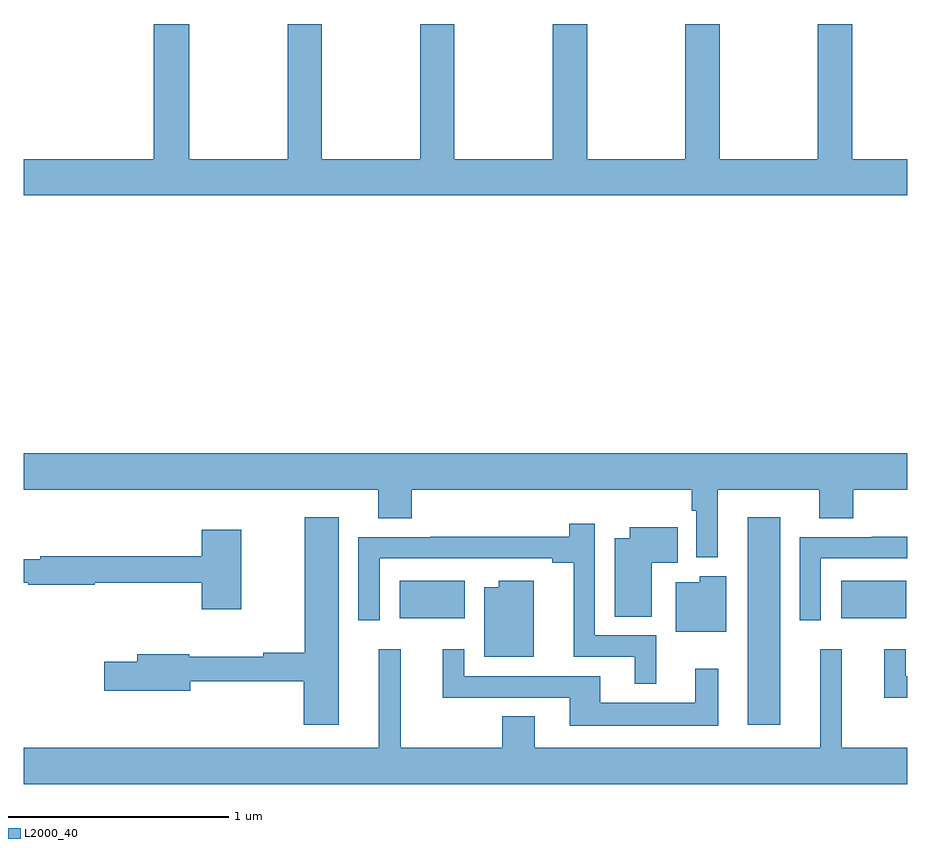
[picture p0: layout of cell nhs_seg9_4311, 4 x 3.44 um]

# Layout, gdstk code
import gdstk
lib = gdstk.Library(unit=1e-6, precision=1e-09)
def R(c, l, rs):  # rectangles x0, y0, x1, y1
    for r in rs: c.add(gdstk.rectangle(r[:2], r[2:], *l))
def P(c, l, *ps):  # polygons
    for p in ps: c.add(gdstk.Polygon(p, *l))
L2000_40 = (2000, 40)

nhs_seg9_4311 = lib.new_cell('nhs_seg9_4311')
R(nhs_seg9_4311, L2000_40, [(360.278,1223.328,360.424,1224.268), (358.703,1223.81,358.996,1223.98), (360.701,1223.81,360.994,1223.98)])
P(nhs_seg9_4311, L2000_40, [(359.995,1225.888),(359.55,1225.888),(359.55,1226.5),(359.395,1226.5),(359.395,1225.888),(358.95,1225.888),(358.95,1226.5),(358.795,1226.5),(358.795,1225.888),(358.35,1225.888),(358.35,1226.5),(358.195,1226.5),(358.195,1225.888),(357.75,1225.888),(357.75,1226.5),(357.59,1226.5),(357.59,1225.888),(357,1225.888),(357,1225.724),(361,1225.724),(361,1225.888),(360.75,1225.888),(360.75,1226.5),(360.595,1226.5),(360.595,1225.888),(360.15,1225.888),(360.15,1226.5),(359.995,1226.5)],
  [(360.142,1224.392),(360.602,1224.392),(360.602,1224.262),(360.755,1224.262),(360.755,1224.392),(361,1224.392),(361,1224.556),(357,1224.556),(357,1224.392),(358.604,1224.392),(358.604,1224.262),(358.757,1224.262),(358.757,1224.392),(360.025,1224.392),(360.025,1224.296),(360.045,1224.296),(360.045,1224.086),(360.142,1224.086)],
  [(358.426,1224.268),(358.273,1224.268),(358.273,1223.654),(358.084,1223.654),(358.084,1223.636),(357.75,1223.636),(357.75,1223.647),(357.515,1223.647),(357.515,1223.613),(357.366,1223.613),(357.366,1223.483),(357.754,1223.483),(357.754,1223.526),(358.268,1223.526),(358.268,1223.328),(358.426,1223.328)],
  [(359.863,1223.733),(359.586,1223.733),(359.586,1224.238),(359.47,1224.238),(359.47,1224.179),(358.84,1224.179),(358.84,1224.177),(358.515,1224.177),(358.515,1223.802),(358.611,1223.802),(358.611,1224.081),(359.393,1224.081),(359.393,1224.061),(359.489,1224.061),(359.489,1223.637),(359.765,1223.637),(359.765,1223.513),(359.863,1223.513)],
  [(359.842,1224.062),(359.96,1224.062),(359.96,1224.223),(359.744,1224.223),(359.744,1224.172),(359.675,1224.172),(359.675,1223.818),(359.842,1223.818)],
  [(357.984,1224.211),(357.806,1224.211),(357.806,1224.091),(357.076,1224.091),(357.076,1224.078),(357,1224.078),(357,1223.97),(357.022,1223.97),(357.022,1223.962),(357.322,1223.962),(357.322,1223.97),(357.806,1223.97),(357.806,1223.85),(357.984,1223.85)],
  [(360.609,1224.081),(361,1224.081),(361,1224.179),(360.838,1224.179),(360.838,1224.177),(360.513,1224.177),(360.513,1223.802),(360.609,1223.802)],
  [(360.181,1224.001),(360.06,1224.001),(360.06,1223.974),(359.951,1223.974),(359.951,1223.75),(360.181,1223.75)],
  [(359.308,1223.98),(359.15,1223.98),(359.15,1223.95),(359.084,1223.95),(359.084,1223.636),(359.308,1223.636)],
  [(360.145,1223.581),(360.041,1223.581),(360.041,1223.428),(359.611,1223.428),(359.611,1223.547),(358.995,1223.547),(358.995,1223.671),(358.898,1223.671),(358.898,1223.451),(359.471,1223.451),(359.471,1223.324),(360.145,1223.324)],
  [(361,1223.547),(360.993,1223.547),(360.993,1223.671),(360.896,1223.671),(360.896,1223.451),(361,1223.451)],
  [(361,1223.224),(360.704,1223.224),(360.704,1223.671),(360.605,1223.671),(360.605,1223.224),(359.314,1223.224),(359.314,1223.366),(359.167,1223.366),(359.167,1223.224),(358.706,1223.224),(358.706,1223.671),(358.607,1223.671),(358.607,1223.224),(357,1223.224),(357,1223.06),(361,1223.06)])

lib.write_gds('nhs_seg9_4311.gds')
